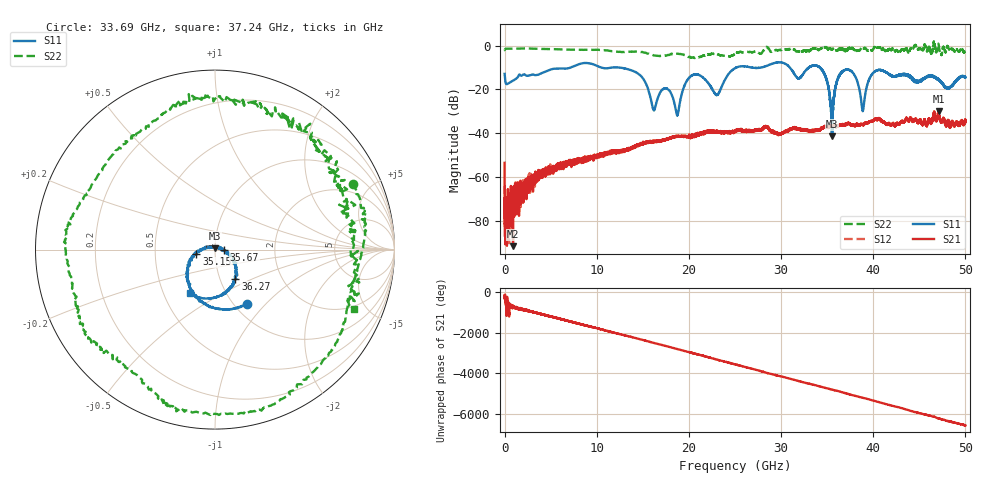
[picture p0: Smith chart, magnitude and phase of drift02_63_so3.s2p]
!Created with skrf (http://scikit-rf.org).
# Hz S RI R 50.0
!freq ReS11 ImS11 ReS21 ImS21 ReS12 ImS12 ReS22 ImS22
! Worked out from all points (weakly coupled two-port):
!   10001 points, 300 kHz to 50 GHz, reference 50 ohm
!   highest |S21| = -29.95 dB at 47.09 GHz (marker M1); lowest = -91.6 dB at 915.3 MHz (marker M2)
!   lowest |S11| = -41.5 dB at 35.53 GHz (marker M3), VSWR 1.02, Z = 50.2 + j0.823 ohm
!   |S11| at or under -10 dB: start of sweep to 7.179 GHz; 12.36 GHz to 25.18 GHz (12.82 GHz wide, 68.3 % of centre); 34.22 GHz to end of sweep (the widest 3 of 16)
!   |S22| runs from -5.7 to 2.3 dB; largest |S21 - S12| = 0.0031
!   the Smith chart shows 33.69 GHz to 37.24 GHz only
!   S11 on the Smith chart (normalised r, x): 33.69 GHz: 1.15, -0.79; 35.15 GHz: 0.81, -0.04; 35.67 GHz: 1.11, -0.00; 36.27 GHz: 1.18, -0.40; 37.24 GHz: 0.68, -0.35
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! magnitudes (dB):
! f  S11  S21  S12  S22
! 300 kHz  -12.9  -53.6  -64.0  -2.1
! 255.3 MHz  -17.6  -70.1  -76.8  -1.4
! 915.3 MHz  -16.0  -91.6  -69.5  -1.5
! 8.335 GHz  -8.2  -53.1  -51.8  -1.9
! 14.03 GHz  -11.8  -46.5  -46.2  -2.8
! 16.67 GHz  -23.4  -43.8  -43.6  -4.7
! 18.74 GHz  -31.8  -41.4  -41.3  -3.7
! 20.24 GHz  -13.9  -41.8  -41.3  -5.5
! 23.04 GHz  -22.6  -39.4  -39.1  -4.1
! 25 GHz  -10.4  -39.5  -39.2  -3.9
! 33.34 GHz  -9.3  -39.0  -38.8  -1.6
! 33.69 GHz  -9.1  -38.7  -38.5  -1.4
! 35.15 GHz  -19.4  -37.0  -37.0  -1.8
! 35.53 GHz  -41.5  -37.0  -36.9  -1.7
! 35.67 GHz  -25.9  -36.9  -36.7  -1.6
! 36.27 GHz  -14.0  -36.6  -36.6  -1.5
! 37.24 GHz  -11.1  -35.7  -35.4  -1.5
! 38.86 GHz  -29.8  -36.2  -36.0  -1.3
! 39.96 GHz  -12.7  -34.4  -34.6  -1.9
! 41.67 GHz  -12.9  -35.4  -35.8  -1.9
! 47.09 GHz  -15.6  -29.9  -30.5  0.6
! 50 GHz  -14.5  -34.0  -34.6  -2.7
